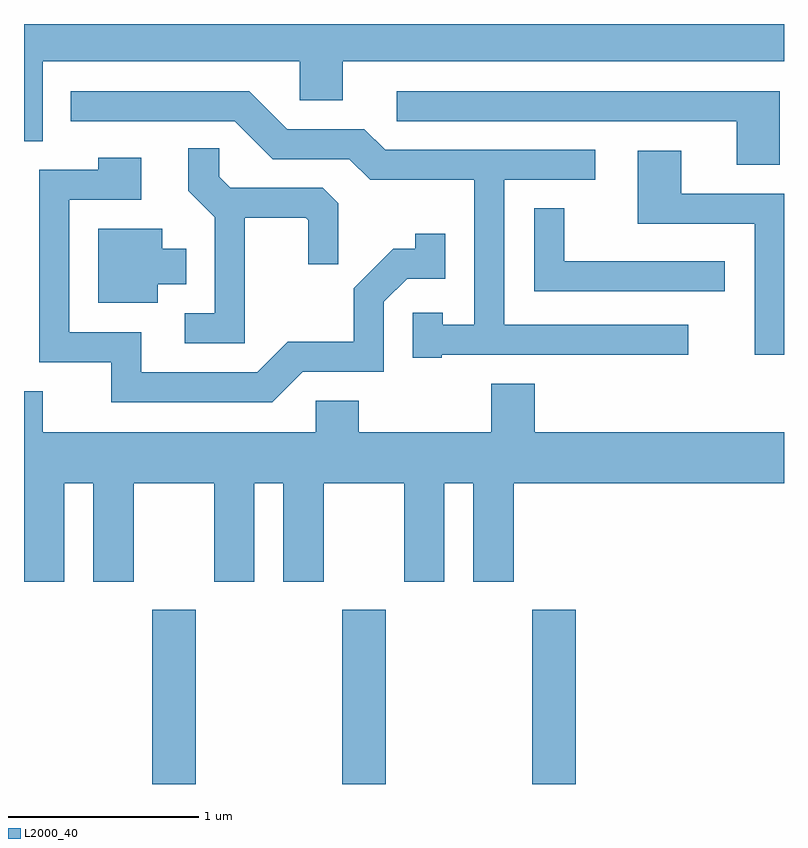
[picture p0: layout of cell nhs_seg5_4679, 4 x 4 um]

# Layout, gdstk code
import gdstk
lib = gdstk.Library(unit=1e-6, precision=1e-09)
def R(c, l, rs):  # rectangles x0, y0, x1, y1
    for r in rs: c.add(gdstk.rectangle(r[:2], r[2:], *l))
def A(c, l, x, y, w, h, nx, ny, dx, dy):  # array of equal rectangles
    R(c, l, [(x+i*dx, y+j*dy, x+i*dx+w, y+j*dy+h) for i in range(nx) for j in range(ny)])
def P(c, l, *ps):  # polygons
    for p in ps: c.add(gdstk.Polygon(p, *l))
L2000_40 = (2000, 40)

nhs_seg5_4679 = lib.new_cell('nhs_seg5_4679')
A(nhs_seg5_4679, L2000_40, 324.286, 1484.072, 0.228, 0.917, 3, 1, 1, 0)
P(nhs_seg5_4679, L2000_40, [(323.709,1487.876),(325.061,1487.876),(325.061,1487.671),(325.289,1487.671),(325.289,1487.876),(327.611,1487.876),(327.611,1488.072),(323.611,1488.072),(323.611,1487.456),(323.709,1487.456)],
  [(327.589,1487.719),(325.573,1487.719),(325.573,1487.561),(327.361,1487.561),(327.361,1487.331),(327.589,1487.331)],
  [(325.81,1486.331),(327.108,1486.331),(327.108,1486.489),(326.139,1486.489),(326.139,1487.251),(326.618,1487.251),(326.618,1487.409),(325.512,1487.409),(325.402,1487.519),(324.997,1487.519),(324.797,1487.719),(323.858,1487.719),(323.858,1487.561),(324.719,1487.561),(324.919,1487.361),(325.324,1487.361),(325.434,1487.251),(325.981,1487.251),(325.981,1486.489),(325.814,1486.489),(325.814,1486.553),(325.656,1486.553),(325.656,1486.316),(325.81,1486.316)],
  [(324.774,1487.051),(325.094,1487.051),(325.106,1487.039),(325.106,1486.808),(325.264,1486.808),(325.264,1487.129),(325.184,1487.209),(324.697,1487.209),(324.639,1487.267),(324.639,1487.418),(324.476,1487.418),(324.476,1487.194),(324.616,1487.054),(324.616,1486.549),(324.458,1486.549),(324.458,1486.391),(324.774,1486.391)],
  [(327.611,1487.179),(327.069,1487.179),(327.069,1487.404),(326.841,1487.404),(326.841,1487.021),(327.456,1487.021),(327.456,1486.331),(327.611,1486.331)],
  [(325.077,1486.241),(325.504,1486.241),(325.504,1486.609),(325.627,1486.731),(325.829,1486.731),(325.829,1486.968),(325.671,1486.968),(325.671,1486.889),(325.554,1486.889),(325.346,1486.682),(325.346,1486.399),(324.999,1486.399),(324.839,1486.239),(324.229,1486.239),(324.229,1486.449),(323.849,1486.449),(323.849,1487.146),(324.229,1487.146),(324.229,1487.369),(324.001,1487.369),(324.001,1487.304),(323.691,1487.304),(323.691,1486.291),(324.071,1486.291),(324.071,1486.081),(324.917,1486.081)],
  [(327.298,1486.824),(326.454,1486.824),(326.454,1487.103),(326.296,1487.103),(326.296,1486.666),(327.298,1486.666)],
  [(324.314,1486.701),(324.464,1486.701),(324.464,1486.889),(324.339,1486.889),(324.339,1486.994),(324.001,1486.994),(324.001,1486.606),(324.314,1486.606)],
  [(323.824,1485.656),(323.976,1485.656),(323.976,1485.136),(324.189,1485.136),(324.189,1485.656),(324.611,1485.656),(324.611,1485.136),(324.824,1485.136),(324.824,1485.656),(324.976,1485.656),(324.976,1485.136),(325.189,1485.136),(325.189,1485.656),(325.611,1485.656),(325.611,1485.136),(325.824,1485.136),(325.824,1485.656),(325.976,1485.656),(325.976,1485.136),(326.189,1485.136),(326.189,1485.656),(327.611,1485.656),(327.611,1485.924),(326.299,1485.924),(326.299,1486.179),(326.071,1486.179),(326.071,1485.924),(325.374,1485.924),(325.374,1486.089),(325.146,1486.089),(325.146,1485.924),(323.709,1485.924),(323.709,1486.139),(323.611,1486.139),(323.611,1485.136),(323.824,1485.136)])

lib.write_gds('nhs_seg5_4679.gds')
